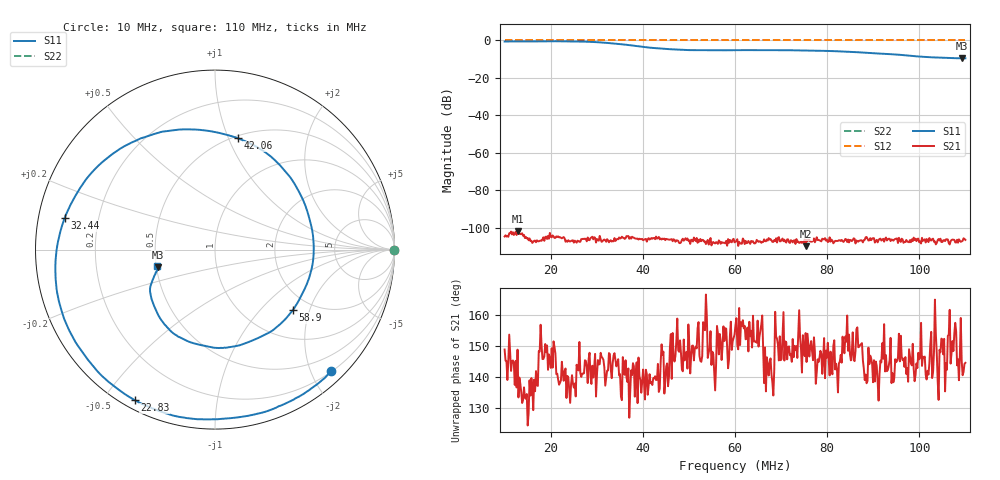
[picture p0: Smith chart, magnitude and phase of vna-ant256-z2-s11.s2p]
! Anritsu VNA Master:  Model: MS2034B/10/19/501
! SN:  1337062
! /bd0/ovro-jan-2016/vna-jan/vna-ant256-z2-s11.s2p
! Existing Calibration Information:
! TYPE:  Current Settings,  Active Cal Settings
! TIME:  01/13/2016 02:22:15 PM,  01/13/2016 02:09:05 PM
! INTERNAL TEMP:  40.8 C,  41.3 C
! # POINTS:  500,  500
! START FREQ:  10.000 MHz,  10.000 MHz
! STOP FREQ:  110.000 MHz,  110.000 MHz
! SOURCE POWER:  High,  High
! IFBW:  100 Hz,  100 Hz
! AVG FACTOR:  4 ,  4
! REF PLANE 1:  0 mm,  0 mm
! REF PLANE 2:  0 mm,  0 mm
! CAL TYPE:  Full S11,  Full S11
! CAL METHOD:  SOLT,  SOLT
! CAL LINE TYPE:  Coax,  Coax
! DUT PORT 1:  K-Conn(M),  K-Conn(M)
! DUT PORT 2:  N-Conn(M),  N-Conn(M)
! CAL STATUS:  OK: Accuracy High,  --
# GHZ S DB R 50.0
! FREQ.GHZ  S11DB  S11A  S21DB  S21A  S12DB  S12A  S22DB  S22A
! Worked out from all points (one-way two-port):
!   500 points, 10 MHz to 110 MHz, reference 50 ohm
!   highest |S21| = -101.90 dB at 12.81 MHz (marker M1); lowest = -109.8 dB at 75.33 MHz (marker M2)
!   lowest |S11| = -9.5 dB at 109.2 MHz (marker M3), VSWR 2.01, Z = 25.4 - j5.63 ohm
!   |S11| at or under -10 dB: nowhere
!   |S22| runs from 0.0 to 0.0 dB; largest |S21 - S12| = 1
!   S11 on the Smith chart (normalised r, x): 10 MHz: 0.21, -2.32; 22.83 MHz: 0.03, -0.60; 32.44 MHz: 0.08, +0.10; 42.06 MHz: 0.52, +1.08; 58.9 MHz: 1.61, -1.55; 110 MHz: 0.51, -0.11
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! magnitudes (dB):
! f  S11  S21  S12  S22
! 10 MHz  -0.6  -104.6  0.0  0.0
! 12.81 MHz  -0.5  -101.9  0.0  0.0
! 22.83 MHz  -0.4  -104.9  0.0  0.0
! 26.83 MHz  -0.6  -106.0  0.0  0.0
! 29.44 MHz  -0.8  -105.0  0.0  0.0
! 32.44 MHz  -1.4  -106.6  0.0  0.0
! 36.05 MHz  -2.2  -105.9  0.0  0.0
! 42.06 MHz  -4.0  -105.8  0.0  0.0
! 43.47 MHz  -4.2  -104.9  0.0  0.0
! 47.07 MHz  -4.9  -107.4  0.0  0.0
! 49.28 MHz  -5.1  -105.5  0.0  0.0
! 58.9 MHz  -5.2  -106.4  0.0  0.0
! 60.1 MHz  -5.2  -107.4  0.0  0.0
! 71.72 MHz  -5.2  -107.7  0.0  0.0
! 75.33 MHz  -5.4  -109.8  0.0  0.0
! 76.73 MHz  -5.4  -107.3  0.0  0.0
! 82.14 MHz  -5.8  -107.0  0.0  0.0
! 93.37 MHz  -7.3  -105.8  0.0  0.0
! 102 MHz  -8.9  -107.6  0.0  0.0
! 106.6 MHz  -9.4  -108.8  0.0  0.0
! 109.2 MHz  -9.5  -107.2  0.0  0.0
! 110 MHz  -9.5  -106.4  0.0  0.0
